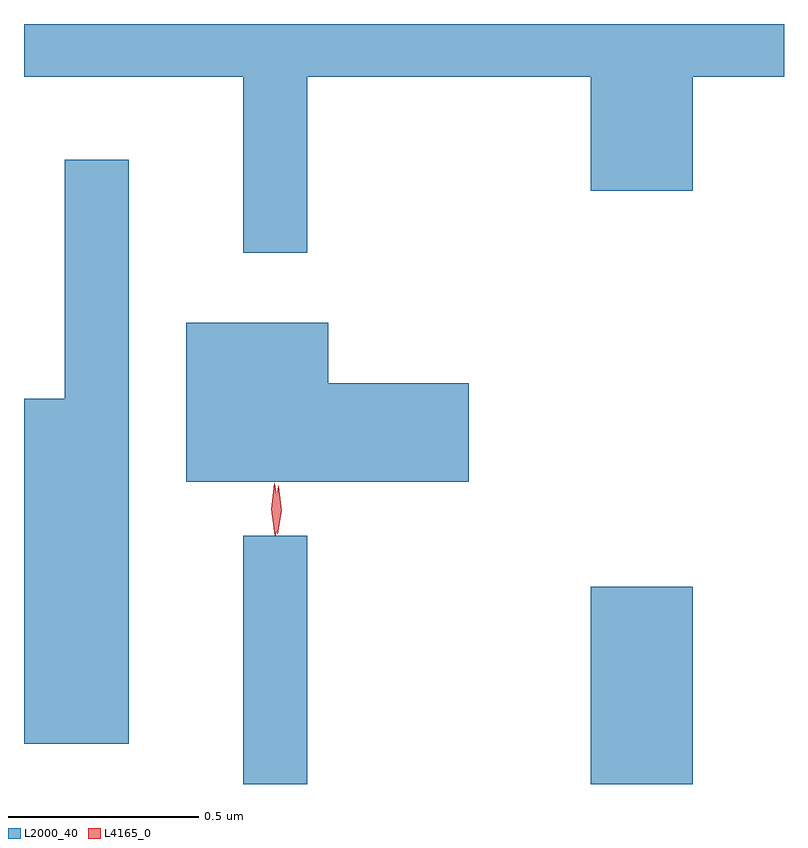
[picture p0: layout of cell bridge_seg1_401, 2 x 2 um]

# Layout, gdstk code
import gdstk
lib = gdstk.Library(unit=1e-6, precision=1e-09)
def R(c, l, rs):  # rectangles x0, y0, x1, y1
    for r in rs: c.add(gdstk.rectangle(r[:2], r[2:], *l))
def P(c, l, *ps):  # polygons
    for p in ps: c.add(gdstk.Polygon(p, *l))
L2000_40 = (2000, 40)
L4165_0 = (4165, 0)

bridge_seg1_401 = lib.new_cell('bridge_seg1_401')
R(bridge_seg1_401, L2000_40, [(433.941,968.755,434.109,969.408), (434.856,968.755,435.124,969.274)])
P(bridge_seg1_401, L2000_40, [(434.109,970.616),(434.856,970.616),(434.856,970.316),(435.124,970.316),(435.124,970.616),(435.364,970.616),(435.364,970.755),(433.364,970.755),(433.364,970.616),(433.941,970.616),(433.941,970.153),(434.109,970.153)],
  [(433.639,970.398),(433.471,970.398),(433.471,969.769),(433.364,969.769),(433.364,968.861),(433.639,968.861)],
  [(434.534,969.809),(434.164,969.809),(434.164,969.969),(433.791,969.969),(433.791,969.551),(434.534,969.551)])
P(bridge_seg1_401, L4165_0, [(434.024,969.41),(434.014,969.478),(434.023,969.546),(434.024,969.546),(434.024,969.546),(434.034,969.478),(434.026,969.41),(434.025,969.41)],
  [(434.031,969.413),(434.031,969.413),(434.022,969.476),(434.033,969.539),(434.033,969.54),(434.034,969.539),(434.042,969.476),(434.032,969.413)])

lib.write_gds('bridge_seg1_401.gds')
